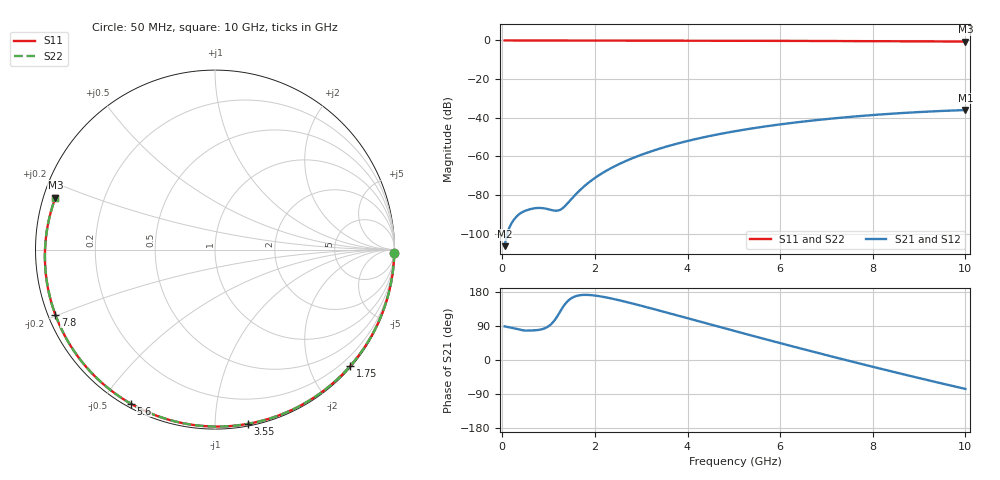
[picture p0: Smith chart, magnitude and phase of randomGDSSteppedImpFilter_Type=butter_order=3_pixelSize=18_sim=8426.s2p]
! freq	dB(S11)	phase(S11)	dB(S12)	phase(S12)
!  dB(S21)	phase(S21)	dB(S22)	phase(S22)
!S-par simulation data
#  GHz  S  DB  R 50
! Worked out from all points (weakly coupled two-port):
!   200 points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, 50 MHz to 10 GHz, reference 50 ohm
!   highest |S21| = -36.01 dB at 10 GHz (marker M1); lowest = -106.4 dB at 50 MHz (marker M2)
!   lowest |S11| = -0.6 dB at 10 GHz (marker M3), VSWR 29.78, Z = 1.72 + j7.95 ohm
!   |S11| at or under -10 dB: nowhere
!   |S22| runs from -0.6 to 0.0 dB; largest |S21 - S12| = 0
!   S11 on the Smith chart (normalised r, x): 50 MHz: open; 1.75 GHz: 0.02, -2.70; 3.55 GHz: 0.01, -1.21; 5.6 GHz: 0.01, -0.59; 7.8 GHz: 0.02, -0.20; 10 GHz: 0.03, +0.16
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0.05  -0.00 -1.1  -106.44 88.8  -106.44 88.8  -0.00 -1.1
0.45  -0.02 -10.6  -88.59 78.3  -88.59 78.3  -0.02 -10.6
0.8  -0.02 -18.8  -86.66 79.7  -86.66 79.7  -0.02 -18.8
1.55  -0.05 -36.1  -80.55 166.8  -80.55 166.8  -0.05 -36.1
1.6  -0.05 -37.2  -79.28 169.0  -79.28 169.0  -0.05 -37.2
1.75  -0.05 -40.6  -75.84 171.8  -75.84 171.8  -0.05 -40.6
2.05  -0.06 -47.3  -70.33 169.3  -70.33 169.3  -0.06 -47.3
2.25  -0.07 -51.7  -67.37 165.0  -67.37 165.0  -0.07 -51.7
2.45  -0.07 -56.1  -64.81 159.8  -64.81 159.8  -0.07 -56.1
2.9  -0.08 -65.8  -60.08 146.3  -60.08 146.3  -0.08 -65.8
3.4  -0.10 -76.2  -55.95 130.2  -55.95 130.2  -0.10 -76.2
3.55  -0.10 -79.3  -54.88 125.2  -54.88 125.2  -0.10 -79.2
4.3  -0.13 -94.2  -50.35 100.3  -50.35 100.3  -0.13 -94.2
5.05  -0.16 -108.5  -46.86 75.4  -46.86 75.4  -0.16 -108.5
5.6  -0.19 -118.7  -44.76 57.4  -44.76 57.4  -0.19 -118.7
6.15  -0.22 -128.6  -42.97 39.7  -42.97 39.7  -0.22 -128.6
6.7  -0.26 -138.4  -41.43 22.2  -41.43 22.2  -0.26 -138.4
7.25  -0.30 -148.2  -40.11 5.1  -40.11 5.1  -0.30 -148.1
7.8  -0.35 -157.8  -38.96 -11.8  -38.96 -11.8  -0.35 -157.8
8.35  -0.40 -167.6  -37.99 -28.5  -37.99 -28.5  -0.40 -167.6
9.2  -0.49 177.0  -36.80 -53.5  -36.80 -53.5  -0.49 177.0
10  -0.58 161.9  -36.01 -76.3  -36.01 -76.3  -0.58 161.9
